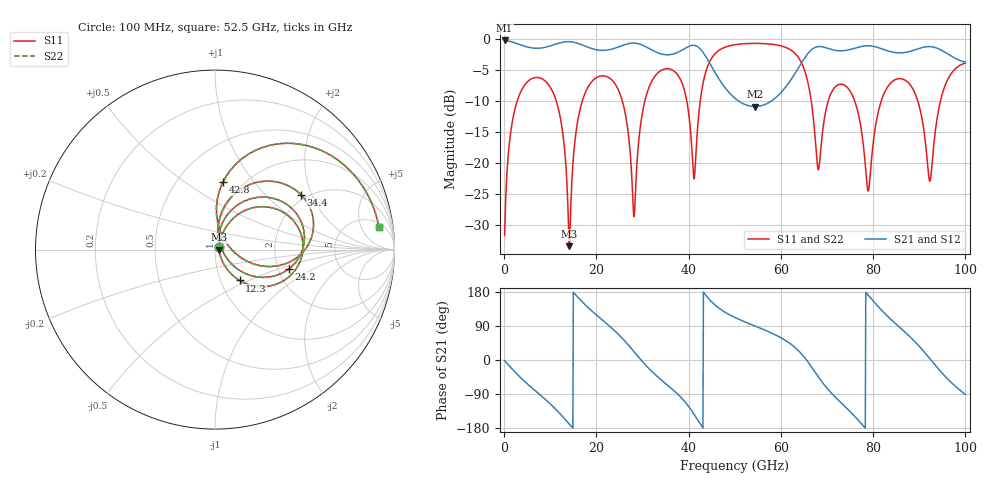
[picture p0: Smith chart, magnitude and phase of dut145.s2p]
! Touchstone file exported from HFSS 2026.1.0
!  File:  C:/ffzhzh/LocalFiles/Ansys_Project_Files/temp_train_TSV_RDL_145_1783643688_29156.aedt
!  Generated:  08:46:47 AM Jul 10, 2026
!  Design:  TSV_RDL
!  Project:  temp_train_TSV_RDL_145_1783643688_29156
! Variables:
!  h_bsmrdl = 4.03um
!  h_ox = 20um
!  h_rdl = 5um
!  h_sub = 77um
!  h_tmrdl = 2.71um
!  h_tsv = 77um
!  h_via = 3um
!  l_bsmrdl = 281.16um
!  l_sub = 3910.06um
!  l_tmrdl = 632.76um
!  m_sub = 200um
!  pitch = 46.93um
!  r_tsv = 11.01um
!  s_tmrdl = 10um
!  w_bsmrdl = 27.04um
!  w_sub = 500um
!  w_tmrdl = 18.14um
!  x_tsv_center1 = 641.83um
!  x_tsv_center2 = 950.03um
!  x_tsv_center3 = 1600.93um
!  x_tsv_center4 = 1909.13um
!  x_tsv_center5 = 2560.03um
!  x_tsv_center6 = 2868.23um
# GHz S MA R 50.000000
! Terminal data exported
! Port[1] = TM_RDL1_1_T1
! Port[2] = TM_RDL5_1_T1
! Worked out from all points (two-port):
!   1000 points, 100 MHz to 100 GHz, reference 50 ohm
!   highest |S21| = -0.19 dB at 100 MHz (marker M1); lowest = -10.9 dB at 54.4 GHz (marker M2)
!   |S21| within 3 dB of the highest: start of sweep to 44.04 GHz; 65.01 GHz to 98.1 GHz (33.09 GHz wide, 40.6 % of centre)
!   lowest |S11| = -33.5 dB at 14.1 GHz (marker M3), VSWR 1.04, Z = 52.2 - j0.107 ohm
!   |S11| at or under -10 dB: 11.3 GHz to 16.94 GHz (5.64 GHz wide, 39.9 % of centre); 76.01 GHz to 81.75 GHz (5.742 GHz wide, 7.28 % of centre); 89.69 GHz to 94.59 GHz (4.896 GHz wide, 5.31 % of centre) (the widest 3 of 7)
!   |S22| runs from -33.5 to -0.7 dB; largest |S21 - S12| = 4.8e-12
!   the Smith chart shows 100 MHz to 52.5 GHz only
!   S11 on the Smith chart (normalised r, x): 100 MHz: 1.04, +0.03; 12.3 GHz: 1.23, -0.44; 24.2 GHz: 2.30, -0.60; 34.4 GHz: 1.86, +1.68; 42.8 GHz: 0.81, +0.71; 52.5 GHz: 6, +11
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0.1  0.02589 31.1  0.9781 -1.5  0.9781 -1.5  0.02589 31.1
! Gamma 0 0 0 0
! Port Impedance 50 0 50 0
4.1  0.4077 33.8  0.8865 -52.7  0.8865 -52.7  0.4077 33.8
12.3  0.2195 -51.4  0.9391 -144.3  0.9391 -144.3  0.2195 -51.5
14.1  0.02122 -2.8  0.9562 -168.8  0.9562 -168.8  0.02102 -2.9
16.8  0.3037 60.2  0.9033 155.1  0.9033 155.1  0.3037 60.3
24.2  0.4265 -14.4  0.8512 74.4  0.8512 74.4  0.4265 -14.4
28.2  0.03687 30.6  0.9313 21.4  0.9313 21.4  0.03654 30.7
33.4  0.5381 41.9  0.7748 -45.6  0.7748 -45.6  0.5382 41.9
34.4  0.5687 32.4  0.7554 -56.0  0.7554 -56.0  0.5688 32.4
41.1  0.07632 20.9  0.8936 -141.9  0.8936 -141.9  0.07477 20.3
42.8  0.3779 83.2  0.8121 -173.6  0.8121 -173.6  0.3773 83.5
50.1  0.9041 19.6  0.332 111.9  0.332 111.9  0.904 19.6
52.5  0.9224 7.8  0.2941 99.0  0.2941 99.0  0.9223 7.9
54.4  0.9263 -0.8  0.2859 89.6  0.2859 89.6  0.9263 -0.8
66.7  0.2944 -89.9  0.8262 -19.4  0.8262 -19.4  0.2937 -90.5
68.2  0.08914 -32.1  0.873 -46.0  0.873 -46.0  0.086 -31.9
70.8  0.3606 -2.2  0.8301 -85.3  0.8301 -85.3  0.3599 -1.8
77.3  0.1995 -61.4  0.8726 -166.0  0.8726 -166.0  0.1994 -61.1
79  0.06 -1.7  0.8865 170.0  0.8865 170.0  0.06053 -1.5
83.4  0.425 17.7  0.8015 112.3  0.8015 112.3  0.4251 17.8
92.2  0.07213 -6.9  0.8727 5.0  0.8727 5.0  0.07395 -6.5
100  0.6427 -2.9  0.6527 -91.3  0.6527 -91.3  0.643 -3.2
